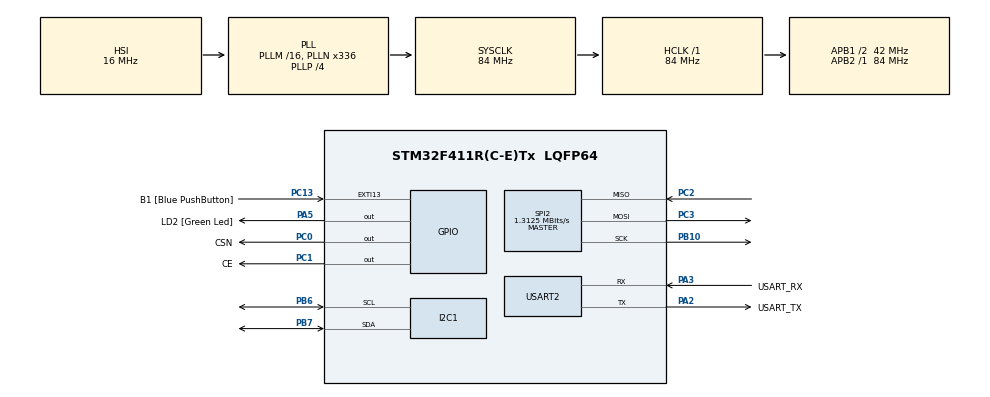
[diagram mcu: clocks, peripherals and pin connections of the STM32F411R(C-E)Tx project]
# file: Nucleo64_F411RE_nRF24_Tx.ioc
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Mcu.Family=STM32F4
Mcu.Name=STM32F411R(C-E)Tx
Mcu.Package=LQFP64
NVIC.PriorityGroup=NVIC_PRIORITYGROUP_0
PA13.GPIO_Label=TMS
PA13.Mode=Serial_Wire
PA13.Signal=SYS_JTMS-SWDIO
PA14.GPIO_Label=TCK
PA14.Mode=Serial_Wire
PA14.Signal=SYS_JTCK-SWCLK
PA2.GPIO_Label=USART_TX
PA2.Mode=Asynchronous
PA2.Signal=USART2_TX
PA3.GPIO_Label=USART_RX
PA3.Mode=Asynchronous
PA3.Signal=USART2_RX
PA5.GPIO_Label=LD2 [Green Led]
PA5.Signal=GPIO_Output
PB10.Mode=Full_Duplex_Master
PB10.Signal=SPI2_SCK
PB3.GPIO_Label=SWO
PB3.Signal=SYS_JTDO-SWO
PB6.Mode=I2C
PB6.Signal=I2C1_SCL
PB7.Mode=I2C
PB7.Signal=I2C1_SDA
PC0.GPIO_Label=CSN
PC0.Signal=GPIO_Output
PC1.GPIO_Label=CE
PC1.Signal=GPIO_Output
PC13-ANTI_TAMP.GPIO_Label=B1 [Blue PushButton]
PC13-ANTI_TAMP.GPIO_ModeDefaultEXTI=GPIO_MODE_IT_FALLING
PC13-ANTI_TAMP.Signal=GPXTI13
PC14-OSC32_IN.Mode=LSE-External-Oscillator
PC14-OSC32_IN.Signal=RCC_OSC32_IN
PC15-OSC32_OUT.Mode=LSE-External-Oscillator
PC15-OSC32_OUT.Signal=RCC_OSC32_OUT
PC2.Mode=Full_Duplex_Master
PC2.Signal=SPI2_MISO
PC3.Mode=Full_Duplex_Master
PC3.Signal=SPI2_MOSI
PH0\ -\ OSC_IN.Mode=HSE-External-Clock-Source
PH0\ -\ OSC_IN.Signal=RCC_OSC_IN
PH1\ -\ OSC_OUT.Mode=HSE-External-Clock-Source
PH1\ -\ OSC_OUT.Signal=RCC_OSC_OUT
ProjectManager.HeapSize=0x200
ProjectManager.StackSize=0x400
ProjectManager.TargetToolchain=STM32CubeIDE
RCC.48MHZClocksFreq_Value=84000000
RCC.AHBFreq_Value=84000000
RCC.APB1CLKDivider=RCC_HCLK_DIV2
RCC.APB1Freq_Value=42000000
RCC.APB1TimFreq_Value=84000000
RCC.APB2Freq_Value=84000000
RCC.APB2TimFreq_Value=84000000
RCC.CortexFreq_Value=84000000
RCC.FLatency-AdvancedSettings=FLASH_LATENCY_2
RCC.HCLKFreq_Value=84000000
RCC.HSE_VALUE=8000000
RCC.HSI_VALUE=16000000
RCC.PLLN=336
RCC.PLLP=RCC_PLLP_DIV4
RCC.SYSCLKFreq_VALUE=84000000
RCC.SYSCLKSource=RCC_SYSCLKSOURCE_PLLCLK
RCC.VCOOutputFreq_Value=336000000
SPI2.BaudRatePrescaler=SPI_BAUDRATEPRESCALER_32
SPI2.CalculateBaudRate=1.3125 MBits/s
SPI2.Direction=SPI_DIRECTION_2LINES
SPI2.Mode=SPI_MODE_MASTER
SPI2.VirtualType=VM_MASTER
TIM1.Prescaler=83
USART2.VirtualMode=VM_ASYNC
VP_TIM1_VS_ClockSourceINT.Mode=Internal
board=NUCLEO-F411RE

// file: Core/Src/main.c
/* USER CODE BEGIN Header */
/**
  ******************************************************************************
  * @file           : main.c
  * @brief          : Main program body
  ******************************************************************************
  * @attention
  *
  * Copyright (c) 2022 STMicroelectronics.
  * All rights reserved.
  *
  * This software is licensed under terms that can be found in the LICENSE file
  * in the root directory of this software component.
  * If no LICENSE file comes with this software, it is provided AS-IS.
  *
  ******************************************************************************
  */
/* USER CODE END Header */
#include "main.h"

/* USER CODE BEGIN Includes */
#include <stdio.h>
#include "NRF24.h"
/* USER CODE END Includes */

I2C_HandleTypeDef hi2c1;

SPI_HandleTypeDef hspi2;

TIM_HandleTypeDef htim1;

UART_HandleTypeDef huart2;

void SystemClock_Config(void);
static void MX_GPIO_Init(void);
static void MX_USART2_UART_Init(void);
static void MX_SPI2_Init(void);
static void MX_I2C1_Init(void);
static void MX_TIM1_Init(void);

/* USER CODE BEGIN 0 */
uint64_t txPipeAddress = 0x2109BC1971;
char txData[32] = "Hello World!";

// delay in microseconds - assume TIM1 is set to 1MHz
void delay_us(uint32_t delay)
{
	// see: https://controllerstech.com/create-1-microsecond-delay-stm32/
	__HAL_TIM_SET_COUNTER(& htim1, 0);
	while (__HAL_TIM_GET_COUNTER(& htim1) < delay)  /* noop */ ;
}

void nrf24_initialize(void)
{
	NRF24_begin(CSN_GPIO_Port, CSN_Pin, CE_Pin, hspi2);
	nrf24_DebugUART_Init(huart2);

	// transmit w/o ACK
	NRF24_stopListening();
	NRF24_openWritingPipe(txPipeAddress);
	NRF24_setAutoAck(false);
	NRF24_setChannel(52);
	NRF24_setPayloadSize(32);
	printRadioSettings();
	HAL_UART_Transmit(&huart2, (uint8_t *)"Tx ready\r\n", strlen("Tx ready\r\n"), 10);
}

void nrf24_transmit_data(void)
{
	HAL_GPIO_WritePin(LD2_GPIO_Port, LD2_Pin, GPIO_PIN_SET);
	HAL_Delay(100);
	if (NRF24_write(txData, 32)) {
	    HAL_UART_Transmit(&huart2, (uint8_t *)"Tx success\r\n", strlen("Tx success\r\n"), 10);
	}
	HAL_GPIO_WritePin(LD2_GPIO_Port, LD2_Pin, GPIO_PIN_RESET);
	HAL_Delay(2900);
}
/* USER CODE END 0 */

int main(void)
{

  /* MCU Configuration--------------------------------------------------------*/

  /* Reset of all peripherals, Initializes the Flash interface and the Systick. */
  HAL_Init();

  /* Configure the system clock */
  SystemClock_Config();

  /* Initialize all configured peripherals */
  MX_GPIO_Init();
  MX_USART2_UART_Init();
  MX_SPI2_Init();
  MX_I2C1_Init();
  MX_TIM1_Init();

  /* USER CODE BEGIN 2 */
  // nrf24_initialize();
  /* USER CODE END 2 */

  /* Infinite loop */
  while (1)
  {
    /* USER CODE BEGIN 3 */
	// transmit_data();
	  HAL_GPIO_WritePin(LD2_GPIO_Port, LD2_Pin, GPIO_PIN_SET);
	  HAL_Delay(500);
	  // delay_us(10000000);
	  HAL_GPIO_WritePin(LD2_GPIO_Port, LD2_Pin, GPIO_PIN_RESET);
	  HAL_Delay(500);
	  // delay_us(10000000);
  }
  /* USER CODE END 3 */
}

void SystemClock_Config(void)
{
  RCC_OscInitTypeDef RCC_OscInitStruct = {0};
  RCC_ClkInitTypeDef RCC_ClkInitStruct = {0};

  /** Configure the main internal regulator output voltage
  */
  __HAL_RCC_PWR_CLK_ENABLE();
  __HAL_PWR_VOLTAGESCALING_CONFIG(PWR_REGULATOR_VOLTAGE_SCALE1);
  /** Initializes the RCC Oscillators according to the specified parameters
  * in the RCC_OscInitTypeDef structure.
  */
  RCC_OscInitStruct.OscillatorType = RCC_OSCILLATORTYPE_HSI;
  RCC_OscInitStruct.HSIState = RCC_HSI_ON;
  RCC_OscInitStruct.HSICalibrationValue = RCC_HSICALIBRATION_DEFAULT;
  RCC_OscInitStruct.PLL.PLLState = RCC_PLL_ON;
  RCC_OscInitStruct.PLL.PLLSource = RCC_PLLSOURCE_HSI;
  RCC_OscInitStruct.PLL.PLLM = 16;
  RCC_OscInitStruct.PLL.PLLN = 336;
  RCC_OscInitStruct.PLL.PLLP = RCC_PLLP_DIV4;
  RCC_OscInitStruct.PLL.PLLQ = 4;
  if (HAL_RCC_OscConfig(&RCC_OscInitStruct) != HAL_OK)
  {
    Error_Handler();
  }
  /** Initializes the CPU, AHB and APB buses clocks
  */
  RCC_ClkInitStruct.ClockType = RCC_CLOCKTYPE_HCLK|RCC_CLOCKTYPE_SYSCLK
                              |RCC_CLOCKTYPE_PCLK1|RCC_CLOCKTYPE_PCLK2;
  RCC_ClkInitStruct.SYSCLKSource = RCC_SYSCLKSOURCE_PLLCLK;
  RCC_ClkInitStruct.AHBCLKDivider = RCC_SYSCLK_DIV1;
  RCC_ClkInitStruct.APB1CLKDivider = RCC_HCLK_DIV2;
  RCC_ClkInitStruct.APB2CLKDivider = RCC_HCLK_DIV1;

  if (HAL_RCC_ClockConfig(&RCC_ClkInitStruct, FLASH_LATENCY_2) != HAL_OK)
  {
    Error_Handler();
  }
}

static void MX_I2C1_Init(void)
{

  hi2c1.Instance = I2C1;
  hi2c1.Init.ClockSpeed = 100000;
  hi2c1.Init.DutyCycle = I2C_DUTYCYCLE_2;
  hi2c1.Init.OwnAddress1 = 0;
  hi2c1.Init.AddressingMode = I2C_ADDRESSINGMODE_7BIT;
  hi2c1.Init.DualAddressMode = I2C_DUALADDRESS_DISABLE;
  hi2c1.Init.OwnAddress2 = 0;
  hi2c1.Init.GeneralCallMode = I2C_GENERALCALL_DISABLE;
  hi2c1.Init.NoStretchMode = I2C_NOSTRETCH_DISABLE;
  if (HAL_I2C_Init(&hi2c1) != HAL_OK)
  {
    Error_Handler();
  }

}

static void MX_SPI2_Init(void)
{

  /* SPI2 parameter configuration*/
  hspi2.Instance = SPI2;
  hspi2.Init.Mode = SPI_MODE_MASTER;
  hspi2.Init.Direction = SPI_DIRECTION_2LINES;
  hspi2.Init.DataSize = SPI_DATASIZE_8BIT;
  hspi2.Init.CLKPolarity = SPI_POLARITY_LOW;
  hspi2.Init.CLKPhase = SPI_PHASE_1EDGE;
  hspi2.Init.NSS = SPI_NSS_SOFT;
  hspi2.Init.BaudRatePrescaler = SPI_BAUDRATEPRESCALER_32;
  hspi2.Init.FirstBit = SPI_FIRSTBIT_MSB;
  hspi2.Init.TIMode = SPI_TIMODE_DISABLE;
  hspi2.Init.CRCCalculation = SPI_CRCCALCULATION_DISABLE;
  hspi2.Init.CRCPolynomial = 10;
  if (HAL_SPI_Init(&hspi2) != HAL_OK)
  {
    Error_Handler();
  }

}

static void MX_TIM1_Init(void)
{

  TIM_ClockConfigTypeDef sClockSourceConfig = {0};
  TIM_MasterConfigTypeDef sMasterConfig = {0};

  htim1.Instance = TIM1;
  htim1.Init.Prescaler = 83;
  htim1.Init.CounterMode = TIM_COUNTERMODE_UP;
  htim1.Init.Period = 65535;
  htim1.Init.ClockDivision = TIM_CLOCKDIVISION_DIV1;
  htim1.Init.RepetitionCounter = 0;
  htim1.Init.AutoReloadPreload = TIM_AUTORELOAD_PRELOAD_DISABLE;
  if (HAL_TIM_Base_Init(&htim1) != HAL_OK)
  {
    Error_Handler();
  }
  sClockSourceConfig.ClockSource = TIM_CLOCKSOURCE_INTERNAL;
  if (HAL_TIM_ConfigClockSource(&htim1, &sClockSourceConfig) != HAL_OK)
  {
    Error_Handler();
  }
  sMasterConfig.MasterOutputTrigger = TIM_TRGO_RESET;
  sMasterConfig.MasterSlaveMode = TIM_MASTERSLAVEMODE_DISABLE;
  if (HAL_TIMEx_MasterConfigSynchronization(&htim1, &sMasterConfig) != HAL_OK)
  {
    Error_Handler();
  }

}

static void MX_USART2_UART_Init(void)
{

  huart2.Instance = USART2;
  huart2.Init.BaudRate = 115200;
  huart2.Init.WordLength = UART_WORDLENGTH_8B;
  huart2.Init.StopBits = UART_STOPBITS_1;
  huart2.Init.Parity = UART_PARITY_NONE;
  huart2.Init.Mode = UART_MODE_TX_RX;
  huart2.Init.HwFlowCtl = UART_HWCONTROL_NONE;
  huart2.Init.OverSampling = UART_OVERSAMPLING_16;
  if (HAL_UART_Init(&huart2) != HAL_OK)
  {
    Error_Handler();
  }

}

static void MX_GPIO_Init(void)
{
  GPIO_InitTypeDef GPIO_InitStruct = {0};

  /* GPIO Ports Clock Enable */
  __HAL_RCC_GPIOC_CLK_ENABLE();
  __HAL_RCC_GPIOH_CLK_ENABLE();
  __HAL_RCC_GPIOA_CLK_ENABLE();
  __HAL_RCC_GPIOB_CLK_ENABLE();

  /*Configure GPIO pin Output Level */
  HAL_GPIO_WritePin(GPIOC, CSN_Pin|CE_Pin, GPIO_PIN_RESET);

  /*Configure GPIO pin Output Level */
  HAL_GPIO_WritePin(LD2_GPIO_Port, LD2_Pin, GPIO_PIN_RESET);

  /*Configure GPIO pin : B1_Pin */
  GPIO_InitStruct.Pin = B1_Pin;
  GPIO_InitStruct.Mode = GPIO_MODE_IT_FALLING;
  GPIO_InitStruct.Pull = GPIO_NOPULL;
  HAL_GPIO_Init(B1_GPIO_Port, &GPIO_InitStruct);

  /*Configure GPIO pins : CSN_Pin CE_Pin */
  GPIO_InitStruct.Pin = CSN_Pin|CE_Pin;
  GPIO_InitStruct.Mode = GPIO_MODE_OUTPUT_PP;
  GPIO_InitStruct.Pull = GPIO_NOPULL;
  GPIO_InitStruct.Speed = GPIO_SPEED_FREQ_LOW;
  HAL_GPIO_Init(GPIOC, &GPIO_InitStruct);

  /*Configure GPIO pin : LD2_Pin */
  GPIO_InitStruct.Pin = LD2_Pin;
  GPIO_InitStruct.Mode = GPIO_MODE_OUTPUT_PP;
  GPIO_InitStruct.Pull = GPIO_NOPULL;
  GPIO_InitStruct.Speed = GPIO_SPEED_FREQ_LOW;
  HAL_GPIO_Init(LD2_GPIO_Port, &GPIO_InitStruct);

}

void Error_Handler(void)
{
  __disable_irq();
  while (1)
  {
  }
}
